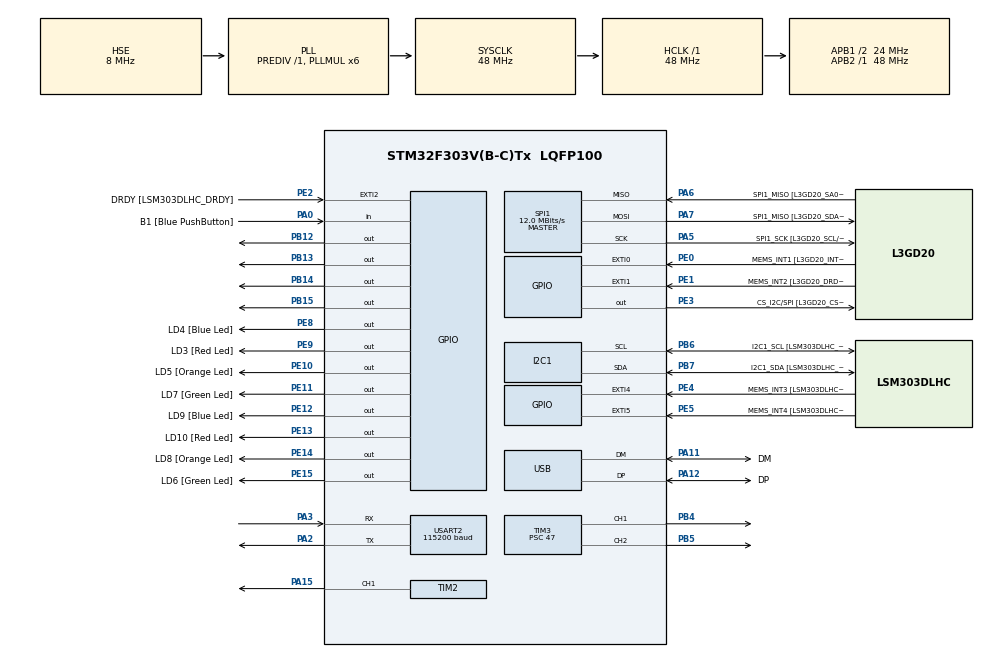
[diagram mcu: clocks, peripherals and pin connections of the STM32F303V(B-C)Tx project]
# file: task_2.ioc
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I2C1.Timing=0x00201D2B
I2C1.Timing-I2C=0x2000090E
Mcu.Family=STM32F3
Mcu.Name=STM32F303V(B-C)Tx
Mcu.Package=LQFP100
NVIC.PriorityGroup=NVIC_PRIORITYGROUP_0
NVIC.TIM2_IRQn=true\:0\:0\:false\:false\:true\:true\:true\:true
PA0.GPIO_Label=B1 [Blue PushButton]
PA0.Signal=GPIO_Input
PA11.GPIO_Label=DM
PA11.Mode=Device
PA11.Signal=USB_DM
PA12.GPIO_Label=DP
PA12.Mode=Device
PA12.Signal=USB_DP
PA13.GPIO_Label=SWDIO
PA13.Mode=Serial_Wire
PA13.Signal=SYS_JTMS-SWDIO
PA14.GPIO_Label=SWCLK
PA14.Mode=Serial_Wire
PA14.Signal=SYS_JTCK-SWCLK
PA15.Signal=S_TIM2_CH1_ETR
PA2.Mode=Asynchronous
PA2.Signal=USART2_TX
PA3.Mode=Asynchronous
PA3.Signal=USART2_RX
PA5.GPIO_Label=SPI1_SCK [L3GD20_SCL/SPC]
PA5.Mode=Full_Duplex_Master
PA5.Signal=SPI1_SCK
PA6.GPIO_Label=SPI1_MISO [L3GD20_SA0/SDO]
PA6.Mode=Full_Duplex_Master
PA6.Signal=SPI1_MISO
PA7.GPIO_Label=SPI1_MISO [L3GD20_SDA/SDI/SDO]
PA7.Mode=Full_Duplex_Master
PA7.Signal=SPI1_MOSI
PB12.Signal=GPIO_Output
PB13.Signal=GPIO_Output
PB14.Signal=GPIO_Output
PB15.Signal=GPIO_Output
PB3.GPIO_Label=SWO
PB3.Signal=SYS_JTDO-TRACESWO
PB4.Signal=S_TIM3_CH1
PB5.Signal=S_TIM3_CH2
PB6.GPIO_Label=I2C1_SCL [LSM303DLHC_SCL]
PB6.GPIO_Pu=GPIO_PULLUP
PB6.Mode=I2C
PB6.Signal=I2C1_SCL
PB7.GPIO_Label=I2C1_SDA [LSM303DLHC_SDA]
PB7.GPIO_Pu=GPIO_PULLUP
PB7.Mode=I2C
PB7.Signal=I2C1_SDA
PC14-OSC32_IN.GPIO_Label=OSC32_IN
PC14-OSC32_IN.Signal=RCC_OSC32_IN
PC15-OSC32_OUT.GPIO_Label=OSC32_OUT
PC15-OSC32_OUT.Signal=RCC_OSC32_OUT
PE0.GPIO_Label=MEMS_INT1 [L3GD20_INT1]
PE0.GPIO_ModeDefaultEXTI=GPIO_MODE_EVT_RISING
PE0.Signal=GPXTI0
PE1.GPIO_Label=MEMS_INT2 [L3GD20_DRDY/INT2]
PE1.GPIO_ModeDefaultEXTI=GPIO_MODE_EVT_RISING
PE1.Signal=GPXTI1
PE10.GPIO_Label=LD5 [Orange Led]
PE10.Signal=GPIO_Output
PE11.GPIO_Label=LD7 [Green Led]
PE11.Signal=GPIO_Output
PE12.GPIO_Label=LD9 [Blue Led]
PE12.Signal=GPIO_Output
PE13.GPIO_Label=LD10 [Red Led]
PE13.Signal=GPIO_Output
PE14.GPIO_Label=LD8 [Orange Led]
PE14.Signal=GPIO_Output
PE15.GPIO_Label=LD6 [Green Led]
PE15.Signal=GPIO_Output
PE2.GPIO_Label=DRDY [LSM303DLHC_DRDY]
PE2.GPIO_ModeDefaultEXTI=GPIO_MODE_EVT_RISING
PE2.Signal=GPXTI2
PE3.GPIO_Label=CS_I2C/SPI [L3GD20_CS_I2C/SPI]
PE3.Signal=GPIO_Output
PE4.GPIO_Label=MEMS_INT3 [LSM303DLHC_INT1]
PE4.GPIO_ModeDefaultEXTI=GPIO_MODE_EVT_RISING
PE4.Signal=GPXTI4
PE5.GPIO_Label=MEMS_INT4 [LSM303DLHC_INT2]
PE5.GPIO_ModeDefaultEXTI=GPIO_MODE_EVT_RISING
PE5.Signal=GPXTI5
PE8.GPIO_Label=LD4 [Blue Led]
PE8.Signal=GPIO_Output
PE9.GPIO_Label=LD3 [Red Led]
PE9.Signal=GPIO_Output
PF0-OSC_IN.GPIO_Label=OSC_IN
PF0-OSC_IN.Mode=HSE-External-Clock-Source
PF0-OSC_IN.Signal=RCC_OSC_IN
PF1-OSC_OUT.GPIO_Label=OSC_OUT
PF1-OSC_OUT.Signal=RCC_OSC_OUT
ProjectManager.HeapSize=0x200
ProjectManager.StackSize=0x400
ProjectManager.TargetToolchain=CMake
RCC.AHBFreq_Value=48000000
RCC.APB1CLKDivider=RCC_HCLK_DIV2
RCC.APB1Freq_Value=24000000
RCC.APB1TimFreq_Value=48000000
RCC.APB2Freq_Value=48000000
RCC.APB2TimFreq_Value=48000000
RCC.CortexFreq_Value=48000000
RCC.HCLKFreq_Value=48000000
RCC.HSE_VALUE=8000000
RCC.HSI_VALUE=8000000
RCC.LSE_VALUE=32768
RCC.PLLMUL=RCC_PLL_MUL6
RCC.SYSCLKFreq_VALUE=48000000
RCC.SYSCLKSourceVirtual=RCC_SYSCLKSOURCE_PLLCLK
RCC.USBFreq_Value=48000000
SH.S_TIM2_CH1_ETR.0=TIM2_CH1,PWM Generation1 CH1
SH.S_TIM3_CH1.0=TIM3_CH1,PWM Generation1 CH1
SH.S_TIM3_CH2.0=TIM3_CH2,PWM Generation2 CH2
SPI1.BaudRatePrescaler=SPI_BAUDRATEPRESCALER_4
SPI1.BaudRatePrescaler-Full_Duplex_Master=SPI_BAUDRATEPRESCALER_2
SPI1.CalculateBaudRate=12.0 MBits/s
SPI1.CalculateBaudRate-Full_Duplex_Master=24.0 MBits/s
SPI1.Direction=SPI_DIRECTION_2LINES
SPI1.Mode=SPI_MODE_MASTER
SPI1.Mode-Full_Duplex_Master=SPI_MODE_MASTER
SPI1.VirtualType=VM_MASTER
TIM2.Channel-PWM\ Generation1\ CH1=TIM_CHANNEL_1
TIM2.Period=4999
TIM2.Prescaler=47
TIM3.Channel-PWM\ Generation1\ CH1=TIM_CHANNEL_1
TIM3.Channel-PWM\ Generation2\ CH2=TIM_CHANNEL_2
TIM3.Period=999
TIM3.Prescaler=47
USART2.BaudRate=115200
USART2.VirtualMode-Asynchronous=VM_ASYNC
VP_TIM2_VS_ClockSourceINT.Mode=Internal
VP_TIM3_VS_ClockSourceINT.Mode=Internal
board=STM32F3DISCOVERY

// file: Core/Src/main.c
/* USER CODE BEGIN Header */
/**
  ******************************************************************************
  * @file           : main.c
  * @brief          : Lab 11 Task 2 - PID Controller for Self-Balancing Robot
  ******************************************************************************
  * TIM2 = 200Hz control loop ISR (complementary filter + PID)
  * TIM3 = PWM generation for motors (CH1=left on PC6, CH2=right on PA4)
  * Motor direction pins:
  *   Left  motor: PB12 (IN1), PB13 (IN2)
  *   Right motor: PB14 (IN1), PB15 (IN2)
  ******************************************************************************
  */
/* USER CODE END Header */
#include "main.h"

/* USER CODE BEGIN Includes */
#include <math.h>
#include <stdio.h>
#include <string.h>
/* USER CODE END Includes */

/* USER CODE BEGIN PD */

/* ---- Sampling Time ---- */
#define DT 0.005f            // 200Hz -> 1/200 = 0.005s

/* ---- PID Gains ---- */
// Start with these values and tune on your robot
// Kp: main corrective force. Start around 15-30.
// Ki: eliminates steady-state offset. Start small (0.5-2).
// Kd: damps oscillations. Start around 0.1-0.5.
#define KP  60.0f
#define KI  0.0f
#define KD  0.6f
// #define KP  55.0f
// #define KI  0.0f
// #define KD  0.0f

/* ---- Setpoint ---- */
// The target angle in degrees (0 = perfectly upright)
// You may need to offset this slightly if your robot's center
// of gravity isn't perfectly centered. Tune by observation.
#define SETPOINT 2.5f

/* ---- Output Limits ---- */
#define PID_OUT_MAX  400.0f
#define PID_OUT_MIN -400.0f

/* ---- Integral Anti-Windup Limit ---- */
#define INTEGRAL_MAX  500.0f
#define INTEGRAL_MIN -500.0f

/* ---- Complementary Filter Weights ---- */
#define COMP_GYRO_WEIGHT  0.98f
#define COMP_ACC_WEIGHT   0.02f

/* USER CODE END PD */

I2C_HandleTypeDef hi2c1;

SPI_HandleTypeDef hspi1;

TIM_HandleTypeDef htim2;
TIM_HandleTypeDef htim3;

UART_HandleTypeDef huart2;

PCD_HandleTypeDef hpcd_USB_FS;

/* USER CODE BEGIN PV */

/* ---- Angle Estimation Variables ---- */
volatile float shared_angle   = 0.0f;   // Bridge between ISR and main
volatile float shared_pid_out = 0.0f;   // PID output for display
volatile uint8_t display_flag = 0;

// For display/debug in main loop
float gyro_rate = 0.0f;
float acc_angle = 0.0f;

/* ---- IMU Calibration Offsets (User calibration) ---- */
static float gyro_offset = 0.0f;       // Gyroscope Y-axis offset (DPS)
static float acc_x_offset = 0.0f;      // Accelerometer X-axis offset (raw)
static float acc_z_offset = 0.0f;      // Accelerometer Z-axis offset (raw)

/* USER CODE END PV */

void SystemClock_Config(void);
static void MX_GPIO_Init(void);
static void MX_I2C1_Init(void);
static void MX_SPI1_Init(void);
static void MX_TIM2_Init(void);
static void MX_TIM3_Init(void);
static void MX_USB_PCD_Init(void);
static void MX_USART2_UART_Init(void);

/* USER CODE BEGIN 0 */

/* ===========================================center=================
 *  I3G4250D (Gyroscope) SPI Read/Write
 * ============================================================ */
void I3G_WriteReg(uint8_t reg_addr, uint8_t data) {
    uint8_t tx_buffer[2];
    tx_buffer[0] = reg_addr & 0x7F;  // Bit 7 = 0 for WRITE
    tx_buffer[1] = data;

    HAL_GPIO_WritePin(GPIOE, GPIO_PIN_3, GPIO_PIN_RESET); // CS LOW
    HAL_SPI_Transmit(&hspi1, tx_buffer, 2, HAL_MAX_DELAY);
    HAL_GPIO_WritePin(GPIOE, GPIO_PIN_3, GPIO_PIN_SET);   // CS HIGH
}

uint8_t I3G_ReadReg(uint8_t reg_addr) {
    uint8_t tx_data = reg_addr | 0x80;  // Bit 7 = 1 for READ
    uint8_t rx_data;

    HAL_GPIO_WritePin(GPIOE, GPIO_PIN_3, GPIO_PIN_RESET);
    HAL_SPI_Transmit(&hspi1, &tx_data, 1, HAL_MAX_DELAY);
    HAL_SPI_Receive(&hspi1, &rx_data, 1, HAL_MAX_DELAY);
    HAL_GPIO_WritePin(GPIOE, GPIO_PIN_3, GPIO_PIN_SET);

    return rx_data;
}

/* ============================================================
 *  Motor Control Functions
 * ============================================================
 *
 *  Left Motor:
 *    PWM  -> TIM3_CH1 (PC6)   => Shield pin D9
 *    IN1  -> PB12              => Shield pin D6
 *    IN2  -> PB13              => Shield pin D7
 *
 *  Right Motor:
 *    PWM  -> TIM3_CH2 (PA4)   => Shield pin D10
 *    IN1  -> PB14              => Shield pin D8
 *    IN2  -> PB15              => Shield pin D12
 *
 *  Direction logic (L298N style):
 *    Forward  (CW):  IN1=HIGH, IN2=LOW
 *    Backward (CCW): IN1=LOW,  IN2=HIGH
 *    Brake/Stop:     IN1=LOW,  IN2=LOW
 */

void Motor_Left_Forward(uint16_t speed) {
    HAL_GPIO_WritePin(GPIOB, GPIO_PIN_12, GPIO_PIN_SET);    // IN1 = HIGH
    HAL_GPIO_WritePin(GPIOB, GPIO_PIN_13, GPIO_PIN_RESET);  // IN2 = LOW
    __HAL_TIM_SET_COMPARE(&htim3, TIM_CHANNEL_1, speed);
}

void Motor_Left_Backward(uint16_t speed) {
    HAL_GPIO_WritePin(GPIOB, GPIO_PIN_12, GPIO_PIN_RESET);  // IN1 = LOW
    HAL_GPIO_WritePin(GPIOB, GPIO_PIN_13, GPIO_PIN_SET);    // IN2 = HIGH
    __HAL_TIM_SET_COMPARE(&htim3, TIM_CHANNEL_1, speed);
}

void Motor_Left_Stop(void) {
    HAL_GPIO_WritePin(GPIOB, GPIO_PIN_12, GPIO_PIN_RESET);
    HAL_GPIO_WritePin(GPIOB, GPIO_PIN_13, GPIO_PIN_RESET);
    __HAL_TIM_SET_COMPARE(&htim3, TIM_CHANNEL_1, 0);
}

void Motor_Right_Forward(uint16_t speed) {
    HAL_GPIO_WritePin(GPIOB, GPIO_PIN_14, GPIO_PIN_SET);    // IN1 = HIGH
    HAL_GPIO_WritePin(GPIOB, GPIO_PIN_15, GPIO_PIN_RESET);  // IN2 = LOW
    __HAL_TIM_SET_COMPARE(&htim3, TIM_CHANNEL_2, speed);
}

void Motor_Right_Backward(uint16_t speed) {
    HAL_GPIO_WritePin(GPIOB, GPIO_PIN_14, GPIO_PIN_RESET);  // IN1 = LOW
    HAL_GPIO_WritePin(GPIOB, GPIO_PIN_15, GPIO_PIN_SET);    // IN2 = HIGH
    __HAL_TIM_SET_COMPARE(&htim3, TIM_CHANNEL_2, speed);
}

void Motor_Right_Stop(void) {
    HAL_GPIO_WritePin(GPIOB, GPIO_PIN_14, GPIO_PIN_RESET);
    HAL_GPIO_WritePin(GPIOB, GPIO_PIN_15, GPIO_PIN_RESET);
    __HAL_TIM_SET_COMPARE(&htim3, TIM_CHANNEL_2, 0);
}

/* ============================================================
 *  Set both motors based on PID output
 *  pid_output > 0  => tilting forward  => drive motors forward (CW)
 *  pid_output < 0  => tilting backward => drive motors backward (CCW)
 * ============================================================ */
void Motors_Drive(float pid_output) {
    // Convert float to unsigned PWM value
    uint16_t pwm_val;

    if (pid_output > 0) {
        // Clamp to max
        if (pid_output > PID_OUT_MAX) pid_output = PID_OUT_MAX;
        pwm_val = (uint16_t)pid_output;

        Motor_Left_Forward(pwm_val);
        Motor_Right_Forward(pwm_val);
    }
    else if (pid_output < 0) {
        // Make positive for PWM
        float abs_out = -pid_output;
        if (abs_out > PID_OUT_MAX) abs_out = PID_OUT_MAX;
        pwm_val = (uint16_t)abs_out;

        Motor_Left_Backward(pwm_val);
        Motor_Right_Backward(pwm_val);
    }
    else {
        Motor_Left_Stop();
        Motor_Right_Stop();
    }
}

/* ============================================================
 *  IMU Calibration Function (User code)
 * ============================================================
 *  Collects 300 samples from gyroscope and accelerometer,
 *  averages them, and stores as offset values.
 *  Call this during initialization while the robot is stationary.
 * ============================================================ */
static void IMU_Calibrate(void) {
    #define CALIBRATION_SAMPLES 300
    #define CALIBRATION_DELAY_MS 5

    float gyro_sum = 0.0f;
    float acc_x_sum = 0.0f;
    float acc_z_sum = 0.0f;

    // Display calibration status
    char msg[50];
    int len = sprintf(msg, "Calibrating IMU...\r\n");
    HAL_UART_Transmit(&huart2, (uint8_t*)msg, len, HAL_MAX_DELAY);
    HAL_Delay(100);

    // Collect 300 samples
    for (int i = 0; i < CALIBRATION_SAMPLES; i++) {
        /* Read Gyroscope Y-axis */
        uint8_t y_low  = I3G_ReadReg(0x2A);  // OUT_Y_L
        uint8_t y_high = I3G_ReadReg(0x2B);  // OUT_Y_H
        int16_t raw_gyro_y = (int16_t)((y_high << 8) | y_low);
        gyro_sum += (float)raw_gyro_y * 0.00875f;  // Convert to DPS

        /* Read Accelerometer X and Z axes */
        uint8_t acc_reg = 0x28 | 0x80;  // Auto-increment read from OUT_X_L_A
        uint8_t acc_buf[6] = {0};
        HAL_I2C_Master_Transmit(&hi2c1, 0x32, &acc_reg, 1, 10);
        HAL_I2C_Master_Receive(&hi2c1, 0x33, acc_buf, 6, 10);

        int16_t acc_raw_x = (int16_t)((acc_buf[1] << 8) | acc_buf[0]);
        int16_t acc_raw_z = (int16_t)((acc_buf[5] << 8) | acc_buf[4]);
        acc_x_sum += (float)acc_raw_x;
        acc_z_sum += (float)acc_raw_z;

        HAL_Delay(CALIBRATION_DELAY_MS);
    }

    // Calculate averages as offsets
    gyro_offset = gyro_sum / CALIBRATION_SAMPLES;
    acc_x_offset = acc_x_sum / CALIBRATION_SAMPLES;
    acc_z_offset = acc_z_sum / CALIBRATION_SAMPLES;

    // Display calibration results
    len = sprintf(msg, "Calib done: G=%.2f\r\n", gyro_offset);
    HAL_UART_Transmit(&huart2, (uint8_t*)msg, len, HAL_MAX_DELAY);
    HAL_Delay(100);
}

/* USER CODE END 0 */

int main(void)
{

  /* MCU Configuration--------------------------------------------------------*/

  /* Reset of all peripherals, Initializes the Flash interface 66666666666666666666.6.66.6666666and the Systick. */
  HAL_Init();

  /* Configure the system clock */
  SystemClock_Config();

  /* Initialize all configured peripherals */
  MX_GPIO_Init();
  MX_I2C1_Init();
  MX_SPI1_Init();
  MX_TIM2_Init();
  MX_TIM3_Init();
  MX_USB_PCD_Init();
  MX_USART2_UART_Init();
  /* USER CODE BEGIN 2 */

  // ---- Initialize Gyroscope (I3G4250D via SPI) ----
  // CTRL_REG1 = 0x20: 200Hz ODR, normal mode, XYZ enable
  I3G_WriteReg(0x20, 0x4F);

  // ---- Initialize Accelerometer (LSM303DLHC via I2C) ----
  // CTRL_REG1_A = 0x20, value 0x57 = 100Hz, normal mode, XYZ enabled
  uint8_t acc_init[2] = {0x20, 0x57};
  HAL_I2C_Master_Transmit(&hi2c1, 0x32, acc_init, 2, 50);

  // Small delay to let sensors settle
  HAL_Delay(100);

  // ---- IMU Calibration: Collect 300 samples to determine offsets ----
  // Keep robot stationary and level during this phase (~1.5 seconds)
  IMU_Calibrate();
  HAL_Delay(200);

  // ---- Start PWM on both channels for motor speed control ----
  HAL_TIM_PWM_Start(&htim3, TIM_CHANNEL_1);  // Left motor  (PC6)
  HAL_TIM_PWM_Start(&htim3, TIM_CHANNEL_2);  // Right motor (PA4)

  // Set initial PWM to 0 (motors off)
  __HAL_TIM_SET_COMPARE(&htim3, TIM_CHANNEL_1, 0);
  __HAL_TIM_SET_COMPARE(&htim3, TIM_CHANNEL_2, 0);

  // ---- Start TIM2 interrupt for 200Hz control loop ----
  HAL_TIM_Base_Start_IT(&htim2);

  // Small delay before control begins
  HAL_Delay(100);

  /* USER CODE END 2 */

  /* Infinite loop */
  /* USER CODE BEGIN WHILE */
  while (1)
  {
      if (display_flag == 1) {
          display_flag = 0;

          char tx_buffer[100];
                int len = sprintf(tx_buffer, "%d,%d,%d,%d\r\n",
                  (int)(shared_angle * 100),
                  (int)(acc_angle * 100),
                  (int)(gyro_rate * 100),
                  (int)(shared_pid_out * 100));

          HAL_UART_Transmit(&huart2, (uint8_t*)tx_buffer, len, HAL_MAX_DELAY);
      }
    /* USER CODE END WHILE */

  }
}

void SystemClock_Config(void)
{
  RCC_OscInitTypeDef RCC_OscInitStruct = {0};
  RCC_ClkInitTypeDef RCC_ClkInitStruct = {0};
  RCC_PeriphCLKInitTypeDef PeriphClkInit = {0};

  /** Initializes the RCC Oscillators according to the specified parameters
  * in the RCC_OscInitTypeDef structure.
  */
  RCC_OscInitStruct.OscillatorType = RCC_OSCILLATORTYPE_HSI|RCC_OSCILLATORTYPE_HSE;
  RCC_OscInitStruct.HSEState = RCC_HSE_BYPASS;
  RCC_OscInitStruct.HSEPredivValue = RCC_HSE_PREDIV_DIV1;
  RCC_OscInitStruct.HSIState = RCC_HSI_ON;
  RCC_OscInitStruct.HSICalibrationValue = RCC_HSICALIBRATION_DEFAULT;
  RCC_OscInitStruct.PLL.PLLState = RCC_PLL_ON;
  RCC_OscInitStruct.PLL.PLLSource = RCC_PLLSOURCE_HSE;
  RCC_OscInitStruct.PLL.PLLMUL = RCC_PLL_MUL6;
  if (HAL_RCC_OscConfig(&RCC_OscInitStruct) != HAL_OK)
  {
    Error_Handler();
  }

  /** Initializes the CPU, AHB and APB buses clocks
  */
  RCC_ClkInitStruct.ClockType = RCC_CLOCKTYPE_HCLK|RCC_CLOCKTYPE_SYSCLK
                              |RCC_CLOCKTYPE_PCLK1|RCC_CLOCKTYPE_PCLK2;
  RCC_ClkInitStruct.SYSCLKSource = RCC_SYSCLKSOURCE_PLLCLK;
  RCC_ClkInitStruct.AHBCLKDivider = RCC_SYSCLK_DIV1;
  RCC_ClkInitStruct.APB1CLKDivider = RCC_HCLK_DIV2;
  RCC_ClkInitStruct.APB2CLKDivider = RCC_HCLK_DIV1;

  if (HAL_RCC_ClockConfig(&RCC_ClkInitStruct, FLASH_LATENCY_1) != HAL_OK)
  {
    Error_Handler();
  }
  PeriphClkInit.PeriphClockSelection = RCC_PERIPHCLK_USB|RCC_PERIPHCLK_USART2
                              |RCC_PERIPHCLK_I2C1;
  PeriphClkInit.Usart2ClockSelection = RCC_USART2CLKSOURCE_PCLK1;
  PeriphClkInit.I2c1ClockSelection = RCC_I2C1CLKSOURCE_HSI;
  PeriphClkInit.USBClockSelection = RCC_USBCLKSOURCE_PLL;
  if (HAL_RCCEx_PeriphCLKConfig(&PeriphClkInit) != HAL_OK)
  {
    Error_Handler();
  }
}

static void MX_I2C1_Init(void)
{

  hi2c1.Instance = I2C1;
  hi2c1.Init.Timing = 0x00201D2B;
  hi2c1.Init.OwnAddress1 = 0;
  hi2c1.Init.AddressingMode = I2C_ADDRESSINGMODE_7BIT;
  hi2c1.Init.DualAddressMode = I2C_DUALADDRESS_DISABLE;
  hi2c1.Init.OwnAddress2 = 0;
  hi2c1.Init.OwnAddress2Masks = I2C_OA2_NOMASK;
  hi2c1.Init.GeneralCallMode = I2C_GENERALCALL_DISABLE;
  hi2c1.Init.NoStretchMode = I2C_NOSTRETCH_DISABLE;
  if (HAL_I2C_Init(&hi2c1) != HAL_OK)
  {
    Error_Handler();
  }

  /** Configure Analogue filter
  */
  if (HAL_I2CEx_ConfigAnalogFilter(&hi2c1, I2C_ANALOGFILTER_ENABLE) != HAL_OK)
  {
    Error_Handler();
  }

  /** Configure Digital filter
  */
  if (HAL_I2CEx_ConfigDigitalFilter(&hi2c1, 0) != HAL_OK)
  {
    Error_Handler();
  }

}

static void MX_SPI1_Init(void)
{

  /* SPI1 parameter configuration*/
  hspi1.Instance = SPI1;
  hspi1.Init.Mode = SPI_MODE_MASTER;
  hspi1.Init.Direction = SPI_DIRECTION_2LINES;
  hspi1.Init.DataSize = SPI_DATASIZE_4BIT;
  hspi1.Init.CLKPolarity = SPI_POLARITY_LOW;
  hspi1.Init.CLKPhase = SPI_PHASE_1EDGE;
  hspi1.Init.NSS = SPI_NSS_SOFT;
  hspi1.Init.BaudRatePrescaler = SPI_BAUDRATEPRESCALER_4;
  hspi1.Init.FirstBit = SPI_FIRSTBIT_MSB;
  hspi1.Init.TIMode = SPI_TIMODE_DISABLE;
  hspi1.Init.CRCCalculation = SPI_CRCCALCULATION_DISABLE;
  hspi1.Init.CRCPolynomial = 7;
  hspi1.Init.CRCLength = SPI_CRC_LENGTH_DATASIZE;
  hspi1.Init.NSSPMode = SPI_NSS_PULSE_ENABLE;
  if (HAL_SPI_Init(&hspi1) != HAL_OK)
  {
    Error_Handler();
  }

}

static void MX_TIM2_Init(void)
{

  TIM_ClockConfigTypeDef sClockSourceConfig = {0};
  TIM_MasterConfigTypeDef sMasterConfig = {0};
  TIM_OC_InitTypeDef sConfigOC = {0};

  htim2.Instance = TIM2;
  htim2.Init.Prescaler = 47;
  htim2.Init.CounterMode = TIM_COUNTERMODE_UP;
  htim2.Init.Period = 4999;
  htim2.Init.ClockDivision = TIM_CLOCKDIVISION_DIV1;
  htim2.Init.AutoReloadPreload = TIM_AUTORELOAD_PRELOAD_DISABLE;
  if (HAL_TIM_Base_Init(&htim2) != HAL_OK)
  {
    Error_Handler();
  }
  sClockSourceConfig.ClockSource = TIM_CLOCKSOURCE_INTERNAL;
  if (HAL_TIM_ConfigClockSource(&htim2, &sClockSourceConfig) != HAL_OK)
  {
    Error_Handler();
  }
  if (HAL_TIM_PWM_Init(&htim2) != HAL_OK)
  {
    Error_Handler();
  }
  sMasterConfig.MasterOutputTrigger = TIM_TRGO_RESET;
  sMasterConfig.MasterSlaveMode = TIM_MASTERSLAVEMODE_DISABLE;
  if (HAL_TIMEx_MasterConfigSynchronization(&htim2, &sMasterConfig) != HAL_OK)
  {
    Error_Handler();
  }
  sConfigOC.OCMode = TIM_OCMODE_PWM1;
  sConfigOC.Pulse = 0;
  sConfigOC.OCPolarity = TIM_OCPOLARITY_HIGH;
  sConfigOC.OCFastMode = TIM_OCFAST_DISABLE;
  if (HAL_TIM_PWM_ConfigChannel(&htim2, &sConfigOC, TIM_CHANNEL_1) != HAL_OK)
  {
    Error_Handler();
  }
  HAL_TIM_MspPostInit(&htim2);

}

static void MX_TIM3_Init(void)
{

  TIM_ClockConfigTypeDef sClockSourceConfig = {0};
  TIM_MasterConfigTypeDef sMasterConfig = {0};
  TIM_OC_InitTypeDef sConfigOC = {0};

  htim3.Instance = TIM3;
  htim3.Init.Prescaler = 47;
  htim3.Init.CounterMode = TIM_COUNTERMODE_UP;
  htim3.Init.Period = 999;
  htim3.Init.ClockDivision = TIM_CLOCKDIVISION_DIV1;
  htim3.Init.AutoReloadPreload = TIM_AUTORELOAD_PRELOAD_DISABLE;
  if (HAL_TIM_Base_Init(&htim3) != HAL_OK)
  {
    Error_Handler();
  }
  sClockSourceConfig.ClockSource = TIM_CLOCKSOURCE_INTERNAL;
  if (HAL_TIM_ConfigClockSource(&htim3, &sClockSourceConfig) != HAL_OK)
  {
    Error_Handler();
  }
  if (HAL_TIM_PWM_Init(&htim3) != HAL_OK)
  {
    Error_Handler();
  }
  sMasterConfig.MasterOutputTrigger = TIM_TRGO_RESET;
  sMasterConfig.MasterSlaveMode = TIM_MASTERSLAVEMODE_DISABLE;
  if (HAL_TIMEx_MasterConfigSynchronization(&htim3, &sMasterConfig) != HAL_OK)
  {
    Error_Handler();
  }
  sConfigOC.OCMode = TIM_OCMODE_PWM1;
  sConfigOC.Pulse = 0;
  sConfigOC.OCPolarity = TIM_OCPOLARITY_HIGH;
  sConfigOC.OCFastMode = TIM_OCFAST_DISABLE;
  if (HAL_TIM_PWM_ConfigChannel(&htim3, &sConfigOC, TIM_CHANNEL_1) != HAL_OK)
  {
    Error_Handler();
  }
  if (HAL_TIM_PWM_ConfigChannel(&htim3, &sConfigOC, TIM_CHANNEL_2) != HAL_OK)
  {
    Error_Handler();
  }
  HAL_TIM_MspPostInit(&htim3);

}

static void MX_USART2_UART_Init(void)
{

  huart2.Instance = USART2;
  huart2.Init.BaudRate = 115200;
  huart2.Init.WordLength = UART_WORDLENGTH_8B;
  huart2.Init.StopBits = UART_STOPBITS_1;
  huart2.Init.Parity = UART_PARITY_NONE;
  huart2.Init.Mode = UART_MODE_TX_RX;
  huart2.Init.HwFlowCtl = UART_HWCONTROL_NONE;
  huart2.Init.OverSampling = UART_OVERSAMPLING_16;
  huart2.Init.OneBitSampling = UART_ONE_BIT_SAMPLE_DISABLE;
  huart2.AdvancedInit.AdvFeatureInit = UART_ADVFEATURE_NO_INIT;
  if (HAL_UART_Init(&huart2) != HAL_OK)
  {
    Error_Handler();
  }

}

static void MX_USB_PCD_Init(void)
{

  hpcd_USB_FS.Instance = USB;
  hpcd_USB_FS.Init.dev_endpoints = 8;
  hpcd_USB_FS.Init.speed = PCD_SPEED_FULL;
  hpcd_USB_FS.Init.phy_itface = PCD_PHY_EMBEDDED;
  hpcd_USB_FS.Init.low_power_enable = DISABLE;
  hpcd_USB_FS.Init.battery_charging_enable = DISABLE;
  if (HAL_PCD_Init(&hpcd_USB_FS) != HAL_OK)
  {
    Error_Handler();
  }

}

static void MX_GPIO_Init(void)
{
  GPIO_InitTypeDef GPIO_InitStruct = {0};

  /* GPIO Ports Clock Enable */
  __HAL_RCC_GPIOE_CLK_ENABLE();
  __HAL_RCC_GPIOC_CLK_ENABLE();
  __HAL_RCC_GPIOF_CLK_ENABLE();
  __HAL_RCC_GPIOA_CLK_ENABLE();
  __HAL_RCC_GPIOB_CLK_ENABLE();

  /*Configure GPIO pin Output Level */
  HAL_GPIO_WritePin(GPIOE, CS_I2C_SPI_Pin|LD4_Pin|LD3_Pin|LD5_Pin
                          |LD7_Pin|LD9_Pin|LD10_Pin|LD8_Pin
                          |LD6_Pin, GPIO_PIN_RESET);

  /*Configure GPIO pin Output Level */
  HAL_GPIO_WritePin(GPIOB, GPIO_PIN_12|GPIO_PIN_13|GPIO_PIN_14|GPIO_PIN_15, GPIO_PIN_RESET);

  /*Configure GPIO pins : DRDY_Pin MEMS_INT3_Pin MEMS_INT4_Pin MEMS_INT1_Pin
                           MEMS_INT2_Pin */
  GPIO_InitStruct.Pin = DRDY_Pin|MEMS_INT3_Pin|MEMS_INT4_Pin|MEMS_INT1_Pin
                          |MEMS_INT2_Pin;
  GPIO_InitStruct.Mode = GPIO_MODE_EVT_RISING;
  GPIO_InitStruct.Pull = GPIO_NOPULL;
  HAL_GPIO_Init(GPIOE, &GPIO_InitStruct);

  /*Configure GPIO pins : CS_I2C_SPI_Pin LD4_Pin LD3_Pin LD5_Pin
                           LD7_Pin LD9_Pin LD10_Pin LD8_Pin
                           LD6_Pin */
  GPIO_InitStruct.Pin = CS_I2C_SPI_Pin|LD4_Pin|LD3_Pin|LD5_Pin
                          |LD7_Pin|LD9_Pin|LD10_Pin|LD8_Pin
                          |LD6_Pin;
  GPIO_InitStruct.Mode = GPIO_MODE_OUTPUT_PP;
  GPIO_InitStruct.Pull = GPIO_NOPULL;
  GPIO_InitStruct.Speed = GPIO_SPEED_FREQ_LOW;
  HAL_GPIO_Init(GPIOE, &GPIO_InitStruct);

  /*Configure GPIO pin : B1_Pin */
  GPIO_InitStruct.Pin = B1_Pin;
  GPIO_InitStruct.Mode = GPIO_MODE_INPUT;
  GPIO_InitStruct.Pull = GPIO_NOPULL;
  HAL_GPIO_Init(B1_GPIO_Port, &GPIO_InitStruct);

  /*Configure GPIO pins : PB12 PB13 PB14 PB15 */
  GPIO_InitStruct.Pin = GPIO_PIN_12|GPIO_PIN_13|GPIO_PIN_14|GPIO_PIN_15;
  GPIO_InitStruct.Mode = GPIO_MODE_OUTPUT_PP;
  GPIO_InitStruct.Pull = GPIO_NOPULL;
  GPIO_InitStruct.Speed = GPIO_SPEED_FREQ_LOW;
  HAL_GPIO_Init(GPIOB, &GPIO_InitStruct);

}

/* USER CODE BEGIN 4 */

/* ============================================================
 *  TIM2 ISR Callback — runs at 200 Hz (every 5ms)
 *
 *  This is the HEART of the system. It does:
 *   1) Read gyroscope (SPI)
 *   2) Read accelerometer (I2C)
 *   3) Complementary filter -> tilt angle
 *   4) PID controller -> motor command
 *   5) Drive motors
 *   6) Throttle UART display to ~10 Hz
 * ============================================================ */
void HAL_TIM_PeriodElapsedCallback(TIM_HandleTypeDef *htim) {

    if (htim->Instance == TIM2) {

        /* --- Persistent state variables (survive between ISR calls) --- */
        static float tilt_angle    = 0.0f;
        static float integral      = 0.0f;
        static float prev_error    = 0.0f;
        static int   uart_counter  = 0;

        /* ========================
         *  STEP 1: READ GYROSCOPE
         * ======================== */
        uint8_t y_low  = I3G_ReadReg(0x2A);  // OUT_Y_L
        uint8_t y_high = I3G_ReadReg(0x2B);  // OUT_Y_H

        int16_t raw_gyro_y = (int16_t)((y_high << 8) | y_low);

        // Scale factor for 245 dps full-scale = 0.00875 dps/digit
        float gyro_y_dps = (float)raw_gyro_y * 0.00875f;

        // Apply calibration offset
        gyro_y_dps -= gyro_offset;

        /* ==============================
         *  STEP 2: READ ACCELEROMETER
         * ============================== */
        uint8_t acc_reg = 0x28 | 0x80;  // Auto-increment read from OUT_X_L_A
        uint8_t acc_buf[6] = {0};

        HAL_I2C_Master_Transmit(&hi2c1, 0x32, &acc_reg, 1, 10);
        HAL_I2C_Master_Receive(&hi2c1, 0x33, acc_buf, 6, 10);

        int16_t acc_raw_x = (int16_t)((acc_buf[1] << 8) | acc_buf[0]);
        int16_t acc_raw_z = (int16_t)((acc_buf[5] << 8) | acc_buf[4]);

        // Apply calibration offsets
        acc_raw_x -= (int16_t)acc_x_offset;
        acc_raw_z -= (int16_t)acc_z_offset;

        // Pitch angle from accelerometer
        float acc_angle_deg = atan2f((float)acc_raw_x, (float)acc_raw_z) * (180.0f / 3.14159f);

        /* ==================================
         *  STEP 3: COMPLEMENTARY FILTER
         * ================================== */
        tilt_angle = COMP_GYRO_WEIGHT * (tilt_angle + gyro_y_dps * DT)
                   + COMP_ACC_WEIGHT  * acc_angle_deg;

        /* ==================================
         *  STEP 4: PID CONTROLLER
         * ==================================
         *
         *  error = setpoint - measured_angle
         *
         *  If angle > 0 (tilted forward), error < 0
         *    => PID output is negative? No — we want positive output
         *    to drive motors forward. So we use:
         *    error = SETPOINT - tilt_angle
         *    If tilt is positive (forward lean), error is negative,
         *    and we want to drive forward. So output = -PID or
         *    we can flip the sign convention.
         *
         *  Convention used here:
         *    error = SETPOINT - tilt_angle
         *    output > 0 => motors drive one way
         *    output < 0 => motors drive the other way
         *    The Motors_Drive() function handles the sign.
         */

        float error = tilt_angle + SETPOINT;

        // P term
        float p_term = KP * error;

        // I term with anti-windup clamping
        integral += KI * error * DT;
        if (integral > INTEGRAL_MAX) integral = INTEGRAL_MAX;
        if (integral < INTEGRAL_MIN) integral = INTEGRAL_MIN;

        // D term (derivative of error)
        float derivative = (error - prev_error) / DT;
        float d_term = KD * derivative;
        prev_error = error;

        // Total PID output
        float pid_output = p_term + integral + d_term;

        // Clamp final output
        if (pid_output > PID_OUT_MAX) pid_output = PID_OUT_MAX;
        if (pid_output < PID_OUT_MIN) pid_output = PID_OUT_MIN;

        /* ==================================
         *  STEP 5: DRIVE MOTORS
         * ================================== */
        Motors_Drive(pid_output);

        /* ==================================
         *  STEP 6: UPDATE SHARED VARIABLES
         * ================================== */
        shared_angle   = tilt_angle;
        shared_pid_out = pid_output;
        gyro_rate      = gyro_y_dps;
        acc_angle      = acc_angle_deg;

        /* ==================================
         *  STEP 7: UART DISPLAY THROTTLE
         *  200Hz / 20 = 10Hz serial output
         * ================================== */
        if (++uart_counter >= 20) {
            display_flag = 1;
            uart_counter = 0;
        }
    }
}

/* USER CODE END 4 */

void Error_Handler(void)
{
  __disable_irq();
  while (1)
  {
  }
}
